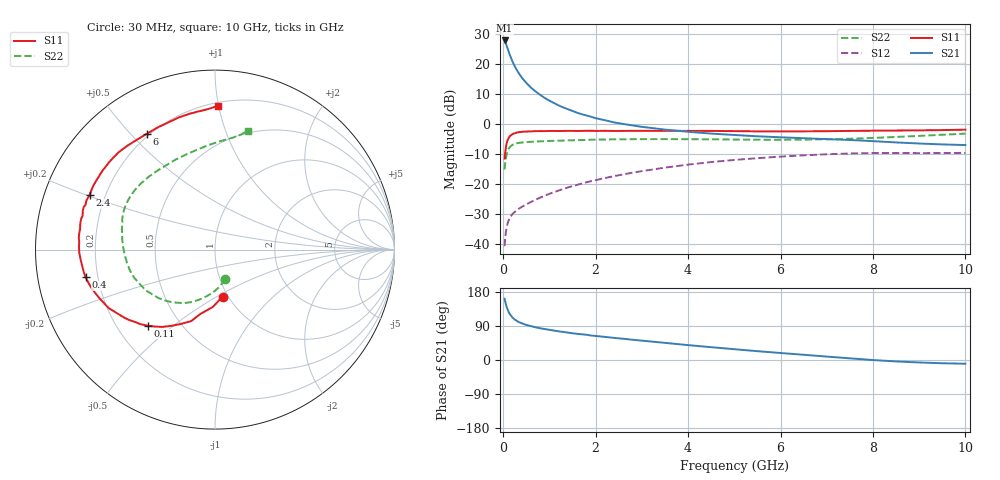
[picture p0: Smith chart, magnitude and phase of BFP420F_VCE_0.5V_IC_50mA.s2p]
! Infineon Technologies  Discrete & RF Semiconductors
! BFP420F
! VCE =  0.5 V,  IC =  50 mA
! Common Emitter S-Parameters:  Sep 2011
# GHz  S  MA  R  50
!  f  S11  S21  S12  S22
! GHz  MAG  ANG  MAG  ANG  MAG  ANG  MAG  ANG
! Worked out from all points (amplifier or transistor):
!   54 points, 30 MHz to 10 GHz, reference 50 ohm
!   highest |S21| = 27.8 dB at 30 MHz (marker M1)
!   |S21| within 3 dB of that: start of sweep to 102 MHz
!   unconditionally stable (mu >= 1): start of sweep to 85.71 MHz; 396.9 MHz to end of sweep
!   at 120 MHz: K = 0.89, MSG = 28.0 dB, |S12| = -32.0 dB
!   at 1.3 GHz: K = 1.40, MAG = 9.8 dB, |S12| = -21.7 dB
!   at 10 GHz: K = 1.27, MAG = -1.8 dB, |S12| = -9.7 dB
!   S11 on the Smith chart (normalised r, x): 30 MHz: 0.95, -0.53; 110 MHz: 0.33, -0.41; 400 MHz: 0.15, -0.10; 2.4 GHz: 0.14, +0.20; 6 GHz: 0.19, +0.55; 10 GHz: 0.22, +0.99
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0.03  0.2649 -80.6  24.48 161.6  0.0092 74.7  0.1741 -71.2
0.04  0.3202 -92.3  23.57 156.0  0.0118 71.1  0.211 -83.9
0.06  0.4203 -108.5  21.54 146.3  0.0162 64.9  0.2724 -102.4
0.07  0.4562 -114.7  20.53 142.0  0.0181 61.6  0.2988 -109.0
0.09  0.5228 -124.5  18.41 134.8  0.0212 58.1  0.3429 -119.7
0.11  0.5662 -131.6  16.62 128.9  0.0238 54.6  0.3735 -128.1
0.13  0.6017 -138.0  14.98 123.8  0.026 52.2  0.3986 -134.8
0.15  0.6295 -142.6  13.61 119.9  0.0278 50.2  0.4159 -139.9
0.2  0.6762 -151.2  10.96 112.1  0.0316 47.5  0.4479 -149.5
0.25  0.6986 -157.2  9.073 106.8  0.0342 46.5  0.462 -155.9
0.3  0.7178 -161.9  7.753 102.6  0.037 45.9  0.4765 -160.7
0.4  0.7371 -167.9  5.938 96.9  0.0414 46.6  0.4895 -167.3
0.6  0.7508 -175.8  4.018 89.4  0.0501 49.2  0.5025 -175.8
0.9  0.7576 176.9  2.696 81.7  0.0638 52.2  0.5149 176.1
1.7  0.7635 164.7  1.449 67.9  0.1014 54.0  0.5376 163.5
2.4  0.7616 156.6  1.058 58.2  0.1349 51.8  0.5526 156.9
3.5  0.7658 145.1  0.803 45.2  0.1869 45.3  0.5573 148.0
5.5  0.751 125.5  0.621 23.3  0.2684 28.5  0.5446 126.4
6  0.7487 120.6  0.598 18.5  0.2849 24.2  0.543 119.9
7  0.7552 109.9  0.557 9.0  0.3116 15.2  0.5539 106.8
8.5  0.7748 97.1  0.491 -3.8  0.3269 2.2  0.6059 86.9
10  0.8004 89.0  0.444 -9.8  0.3286 -4.9  0.6881 74.6
